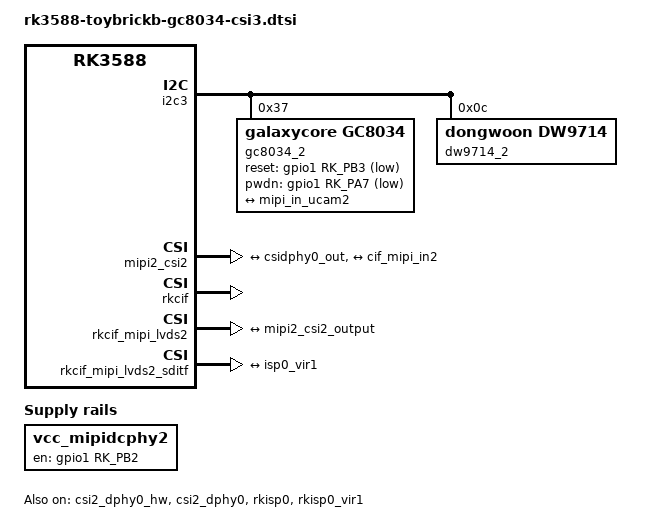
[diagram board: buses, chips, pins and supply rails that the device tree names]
/ {
	vcc_mipidcphy2: vcc-mipidcphy2-regulator {
		compatible = "regulator-fixed";
		gpio = <&gpio1 RK_PB2 GPIO_ACTIVE_HIGH>;
		pinctrl-names = "default";
		pinctrl-0 = <&mipidcphy2_pwr>;
		regulator-name = "vcc_mipidcphy2";
		enable-active-high;
		regulator-always-on;
		regulator-boot-on;
	};
};

&i2c3 {
	status = "okay";
	pinctrl-0 = <&i2c3m0_xfer>;

	gc8034_2: gc8034-2@37 {
		compatible = "galaxycore,gc8034";
		status = "okay";
		reg = <0x37>;
		clocks = <&cru CLK_MIPI_CAMARAOUT_M3>;
		clock-names = "xvclk";
		power-domains = <&power RK3588_PD_VI>;
		reset-gpios = <&gpio1 RK_PB3 GPIO_ACTIVE_LOW>;
		pwdn-gpios = <&gpio1 RK_PA7 GPIO_ACTIVE_LOW>;
		pinctrl-names = "default";
		pinctrl-0 = <&mipim0_camera3_clk>;
		rockchip,camera-module-index = <2>;
		rockchip,camera-module-facing = "back";
		rockchip,camera-module-name = "RK-CMK-8M-2-v1";
		rockchip,camera-module-lens-name = "CK8401";
		lens-focus = <&dw9714_2>;
		port {
			gc8034_out2: endpoint {
				remote-endpoint = <&mipi_in_ucam2>;
				data-lanes = <1 2 3 4>;
			};
		};
	};

	dw9714_2: dw9714-2@c {
		status = "okay";
		compatible = "dongwoon,dw9714";
		reg = <0x0c>;
		rockchip,camera-module-index = <2>;
		rockchip,camera-module-facing = "back";
	};
};

&csi2_dphy0_hw {
	status = "okay";
};

&csi2_dphy0 {
	status = "okay";

	ports {
		#address-cells = <1>;
		#size-cells = <0>;
		port@0 {
			reg = <0>;
			#address-cells = <1>;
			#size-cells = <0>;

			mipi_in_ucam2: endpoint@1 {
				reg = <1>;
				remote-endpoint = <&gc8034_out2>;
				data-lanes = <1 2 3 4>;
			};
		};
		port@1 {
			reg = <1>;
			#address-cells = <1>;
			#size-cells = <0>;

			csidphy0_out: endpoint@0 {
				reg = <0>;
				remote-endpoint = <&mipi2_csi2_input>;
			};
		};
	};
};

&mipi2_csi2 {
	status = "okay";

	ports {
		#address-cells = <1>;
		#size-cells = <0>;

		port@0 {
			reg = <0>;
			#address-cells = <1>;
			#size-cells = <0>;

			mipi2_csi2_input: endpoint@1 {
				reg = <1>;
				remote-endpoint = <&csidphy0_out>;
			};
		};

		port@1 {
			reg = <1>;
			#address-cells = <1>;
			#size-cells = <0>;

			mipi2_csi2_output: endpoint@0 {
				reg = <0>;
				remote-endpoint = <&cif_mipi_in2>;
			};
		};
	};
};

&rkcif {
	status = "okay";
};

&rkcif_mmu {
	status = "okay";
};

&rkcif_mipi_lvds2 {
	status = "okay";

	port {
		cif_mipi_in2: endpoint {
			remote-endpoint = <&mipi2_csi2_output>;
		};
	};
};

&rkcif_mipi_lvds2_sditf {
	status = "okay";

	port {
		mipi2_lvds_sditf: endpoint {
			remote-endpoint = <&isp0_vir1>;
		};
	};
};

&rkisp0 {
	status = "okay";
};

&isp0_mmu {
	status = "okay";
};

&rkisp0_vir1 {
	status = "okay";

	port {
		#address-cells = <1>;
		#size-cells = <0>;

		isp0_vir1: endpoint@0 {
			reg = <0>;
			remote-endpoint = <&mipi2_lvds_sditf>;
		};
	};
};

&pinctrl {
	mipidcphy2_pwr: mipidcphy2-pwr {
		rockchip,pins =
			/* camera power en */
			<1 RK_PB2 RK_FUNC_GPIO &pcfg_output_high>;
	};
};
